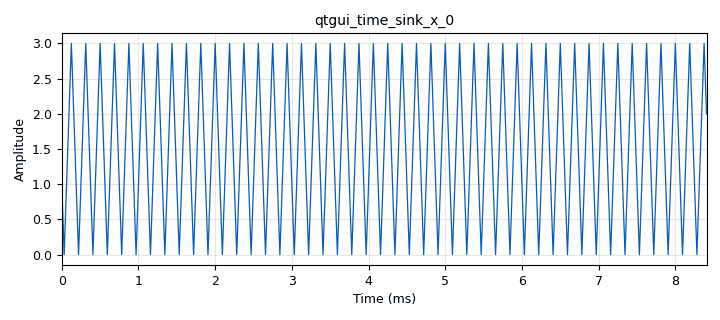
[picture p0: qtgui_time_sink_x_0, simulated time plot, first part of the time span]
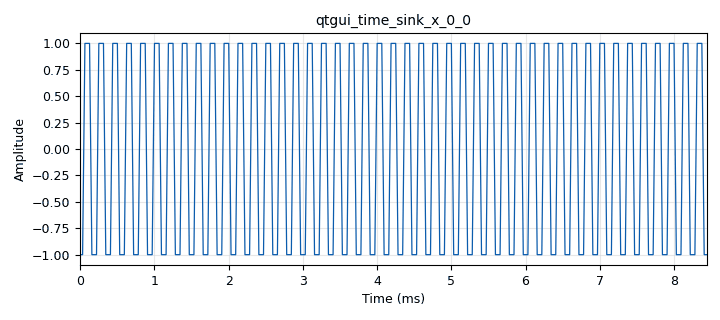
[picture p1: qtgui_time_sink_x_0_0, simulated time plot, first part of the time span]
options:
  parameters:
    generate_options: qt_gui
    id: prueba1
    output_language: python
    title: Not titled yet
  states: {}

blocks:
- name: samp_rate
  id: variable
  parameters:
    value: '32000'
  states: {}
- name: analog_sig_source_x_0
  id: analog_sig_source_x
  parameters:
    amp: '2'
    freq: '1000'
    offset: '-1'
    phase: '0'
    samp_rate: samp_rate
    type: float
    waveform: analog.GR_SQR_WAVE
  states: {state: disabled}
- name: blocks_throttle2_0
  id: blocks_throttle2
  parameters:
    samples_per_second: samp_rate
    type: float
  states: {}
- name: blocks_vector_source_x_0
  id: blocks_vector_source_x
  parameters:
    repeat: 'True'
    type: float
    vector: (1,1,1,-1,-1,-1)
  states: {}
- name: epy_block_0
  id: epy_block
  parameters:
    _source_code: |
      """
      Embedded Python Blocks:

      Each time this file is saved, GRC will instantiate the first class it finds
      to get ports and parameters of your block. The arguments to __init__ will
      be the parameters. All of them are required to have default values!
      """

      import numpy as np
      from gnuradio import gr

      class blk(gr.sync_block):  # 'blk' es el nombre de la clase del bloque
          def __init__(self):
              gr.sync_block.__init__(
                  self,
                  name='e_Acum',        # Nombre que aparecerá en GNU Radio Companion (GRC)
                  in_sig=[np.float32],  # Señal de entrada: vector de flotantes de 32 bits
                  out_sig=[np.float32]  # Señal de salida: vector de flotantes de 32 bits
              )
              self.state = 0.0  # Valor acumulado inicial

          def work(self, input_items, output_items):
              x = input_items[0]   # Señal de entrada
              y = output_items[0]  # Señal de salida

              # Acumulador manual: suma los valores de entrada al estado y guarda el acumulado en salida
              for i in range(len(x)):
                  self.state += x[i]
                  y[i] = self.state

              return len(y)  # Retorna el número de muestras procesadas
  states: {}
- name: qtgui_time_sink_x_0
  id: qtgui_time_sink_x
  parameters:
    autoscale: 'True'
    size: '1024'
    srate: samp_rate
    type: float
  states: {}
- name: qtgui_time_sink_x_0_0
  id: qtgui_time_sink_x
  parameters:
    autoscale: 'True'
    size: '1024'
    srate: samp_rate
    type: float
    update_time: '1'
  states: {}

connections:
- [blocks_throttle2_0, '0', qtgui_time_sink_x_0, '0']
- [blocks_vector_source_x_0, '0', epy_block_0, '0']
- [blocks_vector_source_x_0, '0', qtgui_time_sink_x_0_0, '0']
- [epy_block_0, '0', blocks_throttle2_0, '0']

metadata:
  file_format: 1
  grc_version: v3.10.11.0-89-ga17f69e7
